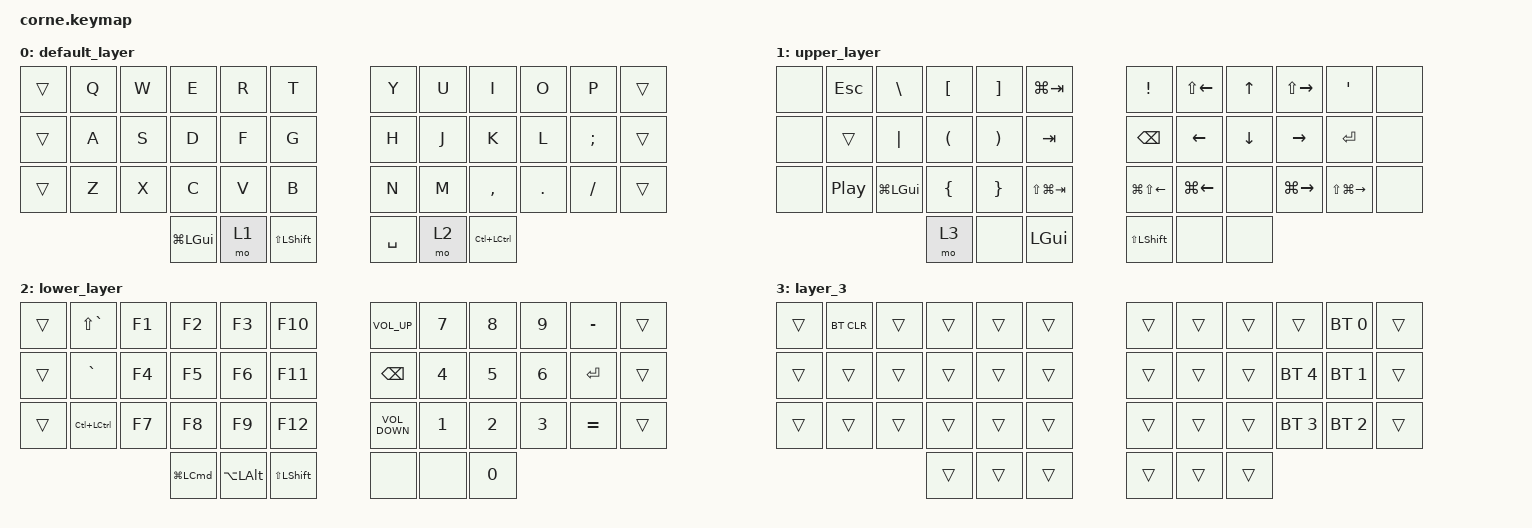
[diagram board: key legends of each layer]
/*
 * Copyright (c) 2020 The ZMK Contributors
 *
 * SPDX-License-Identifier: MIT
 */

#include <behaviors.dtsi>
#include <dt-bindings/zmk/bt.h>
#include <dt-bindings/zmk/keys.h>

/ {
    combos {
        compatible = "zmk,combos";

        new_combo {
            bindings = <&trans>;
            key-positions = <>;
        };
    };

    keymap {
        compatible = "zmk,keymap";

        default_layer {
            bindings = <
&trans  &kp Q  &kp W  &kp E         &kp R  &kp T             &kp Y      &kp U  &kp I                 &kp O    &kp P          &trans
&trans  &kp A  &kp S  &kp D         &kp F  &kp G             &kp H      &kp J  &kp K                 &kp L    &kp SEMICOLON  &trans
&trans  &kp Z  &kp X  &kp C         &kp V  &kp B             &kp N      &kp M  &kp COMMA             &kp DOT  &kp SLASH      &trans
                      &kp LG(LGUI)  &mo 1  &kp LS(LSHIFT)    &kp SPACE  &mo 2  &kp LC(LEFT_CONTROL)
            >;
        };

        upper_layer {
            bindings = <
&none  &kp ESC           &kp BACKSLASH     &kp LEFT_BRACKET      &kp RIGHT_BRACKET      &kp LG(TAB)        &kp EXCLAMATION         &kp LS(LEFT_ARROW)  &kp UP_ARROW    &kp LS(RIGHT)  &kp SQT            &none
&none  &trans            &kp PIPE          &kp LEFT_PARENTHESIS  &kp RIGHT_PARENTHESIS  &kp TAB            &kp BACKSPACE           &kp LEFT_ARROW      &kp DOWN_ARROW  &kp RIGHT      &kp ENTER          &none
&none  &kp C_PLAY_PAUSE  &kp LG(LEFT_GUI)  &kp LEFT_BRACE        &kp RIGHT_BRACE        &kp LS(LG(TAB))    &kp LG(LS(LEFT_ARROW))  &kp LG(LEFT_ARROW)  &none           &kp LG(RIGHT)  &kp LS(LG(RIGHT))  &none
                                           &mo 3                 &none                  &kp LGUI           &kp LS(LEFT_SHIFT)      &none               &none
            >;
        };

        lower_layer {
            bindings = <
&trans  &kp LS(GRAVE)  &kp F1  &kp F2        &kp F3            &kp F10               &kp C_VOLUME_UP    &kp NUMBER_7  &kp NUMBER_8  &kp NUMBER_9  &kp MINUS  &trans
&trans  &kp GRAVE      &kp F4  &kp F5        &kp F6            &kp F11               &kp BACKSPACE      &kp NUMBER_4  &kp NUMBER_5  &kp NUMBER_6  &kp ENTER  &trans
&trans  &kp LC(LCTRL)  &kp F7  &kp F8        &kp F9            &kp F12               &kp C_VOLUME_DOWN  &kp NUMBER_1  &kp NUMBER_2  &kp NUMBER_3  &kp EQUAL  &trans
                               &kp LG(LCMD)  &kp LA(LEFT_ALT)  &kp LS(LEFT_SHIFT)    &none              &none         &kp NUMBER_0
            >;
        };

        layer_3 {
            bindings = <
&trans  &bt BT_CLR  &trans  &trans  &trans  &trans    &trans  &trans  &trans  &trans        &bt BT_SEL 0  &trans
&trans  &trans      &trans  &trans  &trans  &trans    &trans  &trans  &trans  &bt BT_SEL 4  &bt BT_SEL 1  &trans
&trans  &trans      &trans  &trans  &trans  &trans    &trans  &trans  &trans  &bt BT_SEL 3  &bt BT_SEL 2  &trans
                            &trans  &trans  &trans    &trans  &trans  &trans
            >;
        };
    };
};
